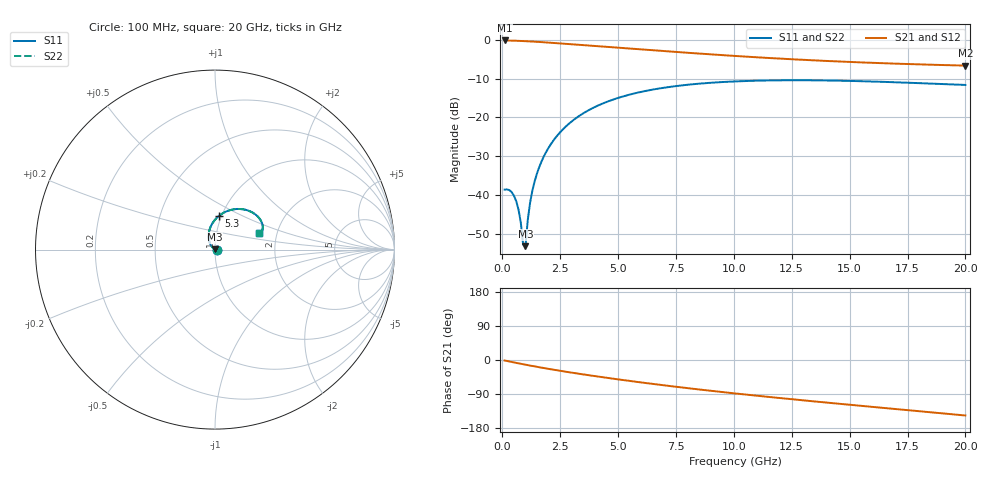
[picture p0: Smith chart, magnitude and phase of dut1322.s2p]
! Touchstone file exported from HFSS 2024.1.0
!  File:  C:/UserFiles/LocalFiles/RDL_TSV_Batchsim/temp_RDL_TSV_1322_1780387383.aedt
!  Generated:  04:18:09 PM Jun  2, 2026
!  Design:  RDL_TSV
!  Project:  temp_RDL_TSV_1322_1780387383
!  Setup:  Setup1
!  Solution:  Sweep
! Variables:
!  dtsv = 8.22um
!  hbump = 3um
!  htsv = 54.49um
!  ldown = 446.46um
!  lrdl = 215.52um
!  p = 40
!  p1 = 49.67um
!  rhole = 10um
!  subl = 2201.46um
!  t = 450um
!  tdown = 3.22um
!  trdl = 2.09um
!  viad = 10um
!  wdown = 28.94um
!  wrdl = 27.5um
!  xbump = 18um
# GHz S MA R 50.000000
! Terminal data exported
! Port[1] = TM1_1_T1
! Port[2] = TM1_4_T1
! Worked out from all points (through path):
!   200 points, 100 MHz to 20 GHz, reference 50 ohm
!   highest |S21| = -0.11 dB at 100 MHz (marker M1); lowest = -6.6 dB at 20 GHz (marker M2)
!   group delay of S21, straight-line fit = 19.3 ps
!   lowest |S11| = -53.2 dB at 1 GHz (marker M3), VSWR 1.00, Z = 49.9 + j0.211 ohm
!   |S11| at or under -10 dB: start of sweep to end of sweep
!   |S22| runs from -53.3 to -10.4 dB; largest |S21 - S12| = 1e-14
!   S11 on the Smith chart (normalised r, x): 100 MHz: 1.02, +0.00; 5.3 GHz: 0.97, +0.38; 20 GHz: 1.62, +0.31
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0.1  0.01169 1.8  0.9879 -1.3  0.9879 -1.3  0.01169 1.8
! Gamma 0 0 0 0
! Port Impedance 50 0 50 0
0.4  0.01089 0.2  0.9834 -5.1  0.9834 -5.1  0.0109 0.1
0.6  0.00832 -1.9  0.979 -7.6  0.979 -7.6  0.008329 -1.9
0.7  0.006485 -1.1  0.9765 -8.8  0.9765 -8.8  0.006496 -1.1
0.8  0.004378 4.1  0.9737 -10.0  0.9737 -10.0  0.004391 4.0
0.9  0.002277 27.5  0.9707 -11.2  0.9707 -11.2  0.002286 27.1
1  0.002176 103.5  0.9675 -12.3  0.9675 -12.3  0.002156 103.1
1.1  0.004734 132.0  0.9641 -13.5  0.9641 -13.5  0.004705 132.0
1.2  0.007917 138.4  0.9605 -14.7  0.9605 -14.7  0.007883 138.4
1.3  0.01139 139.9  0.9567 -15.8  0.9567 -15.8  0.01136 139.9
1.5  0.019 138.7  0.9487 -18.1  0.9487 -18.1  0.01895 138.8
1.7  0.02728 135.9  0.9403 -20.3  0.9403 -20.3  0.02722 135.9
2  0.04065 130.7  0.9271 -23.5  0.9271 -23.5  0.04058 130.7
2.4  0.05964 123.6  0.909 -27.6  0.909 -27.6  0.05954 123.7
2.9  0.08416 115.2  0.8862 -32.5  0.8862 -32.5  0.08402 115.2
3.5  0.1133 105.8  0.8594 -38.1  0.8594 -38.1  0.1132 105.8
5.3  0.1902 83.0  0.7841 -53.6  0.7841 -53.6  0.1899 83.0
6.8  0.2375 68.5  0.7269 -65.4  0.7269 -65.4  0.2371 68.4
10.1  0.2926 45.6  0.6218 -88.5  0.6218 -88.5  0.2921 45.5
13.4  0.3019 31.0  0.5476 -108.8  0.5476 -108.8  0.3014 31.0
16.7  0.2868 22.6  0.4989 -127.8  0.4989 -127.8  0.2863 22.6
20  0.2632 20.0  0.4677 -146.4  0.4677 -146.4  0.2627 20.0
